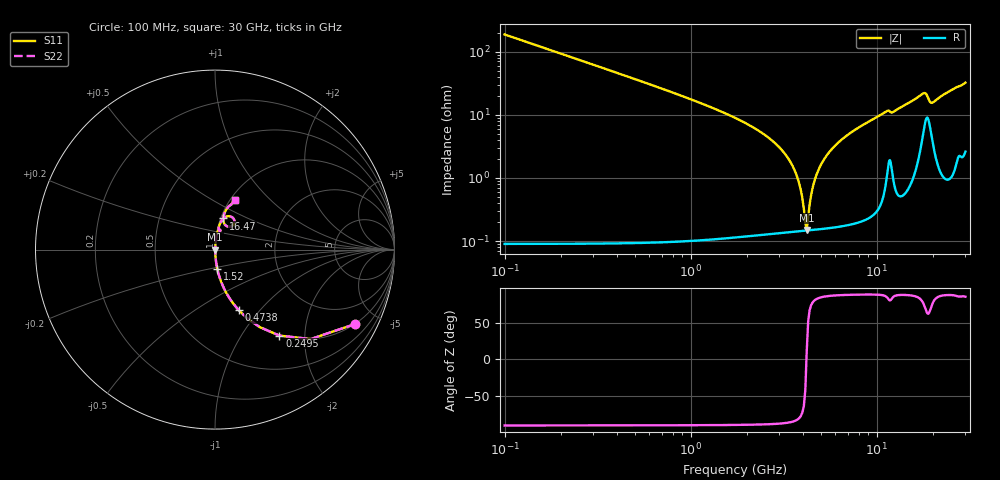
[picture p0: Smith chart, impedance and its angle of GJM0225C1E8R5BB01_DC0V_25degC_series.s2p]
!Murata Part Number: GJM0225C1E8R5BB01
!These Parameters are Measured in Series Mode Connection
!  o--ll--o
!Port1  Port2
!  o------o
!Operation Temp=25[degC], DC Bias Voltage=0[V]
!Freq. Start=100[MHz] Stop=30[GHz], 401[Steps]
!Data Generated on Feb 1, 2023
# Hz S RI R 50
!Freq.(Hz) S11(Real) S11(Imag) S21(Real) S21(Imag) S12(Real) S12(Imag) S22(Real) S22(Imag)
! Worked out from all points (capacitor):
!   401 points, 100 MHz to 30 GHz, reference 50 ohm
!   read as one part in series: C = 8.5 pF near 249.5 MHz
!   lowest |Z| = 150 mohm at 4.211 GHz (marker M1)
!   series resonance near 4.196 GHz, so ESL is about 170 pH
!   S11 on the Smith chart (normalised r, x): 100 MHz: 1.00, -3.74; 249.5 MHz: 1.00, -1.50; 473.8 MHz: 1.00, -0.78; 1.52 GHz: 1.00, -0.21; 16.47 GHz: 1.03, +0.37; 30 GHz: 1.05, +0.64
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1e8  0.7778 -0.4155  0.2222 0.4155  0.2222 0.4155  0.7778 -0.4155
2.495e8  0.3588 -0.479  0.6412 0.479  0.6412 0.479  0.3588 -0.479
4.7375e8  0.1327 -0.338  0.8673 0.338  0.8673 0.338  0.1327 -0.338
9.2225e8  0.0368 -0.1858  0.9632 0.1858  0.9632 0.1858  0.0368 -0.1858
1.52025e9  0.0124 -0.1054  0.9876 0.1054  0.9876 0.1054  0.0124 -0.1054
2.791e9  0.00269 -0.0372  0.9973 0.0372  0.9973 0.0372  0.00269 -0.0372
3.389e9  0.00174 -0.0191  0.9983 0.0191  0.9983 0.0191  0.00174 -0.0191
3.76275e9  0.00151 -0.00972  0.9985 0.00972  0.9985 0.00972  0.00151 -0.00972
4.06175e9  0.00146 -0.0029  0.9985 0.0029  0.9985 0.0029  0.00146 -0.0029
4.21125e9  0.00146 0.000322  0.9985 -0.000322  0.9985 -0.000322  0.00146 0.000322
4.286e9  0.00147 0.00189  0.9985 -0.00189  0.9985 -0.00189  0.00147 0.00189
4.65975e9  0.00159 0.00936  0.9984 -0.00936  0.9984 -0.00936  0.00159 0.00936
5.10825e9  0.00186 0.0177  0.9981 -0.0177  0.9981 -0.0177  0.00186 0.0177
5.781e9  0.00247 0.0291  0.9975 -0.0291  0.9975 -0.0291  0.00247 0.0291
6.8275e9  0.00382 0.0454  0.9962 -0.0454  0.9962 -0.0454  0.00382 0.0454
1.01165e10  0.0116 0.092  0.9884 -0.092  0.9884 -0.092  0.0116 0.092
1.505e10  0.0309 0.1513  0.9691 -0.1513  0.9691 -0.1513  0.0309 0.1513
1.647025e10  0.0471 0.1736  0.9529 -0.1736  0.9529 -0.1736  0.0471 0.1736
1.804e10  0.0959 0.1801  0.9041 -0.1801  0.9041 -0.1801  0.0959 0.1801
2.005825e10  0.0544 0.1399  0.9456 -0.1399  0.9456 -0.1399  0.0544 0.1399
2.50665e10  0.0644 0.2256  0.9356 -0.2256  0.9356 -0.2256  0.0644 0.2256
3e10  0.1129 0.2785  0.8871 -0.2785  0.8871 -0.2785  0.1129 0.2785
